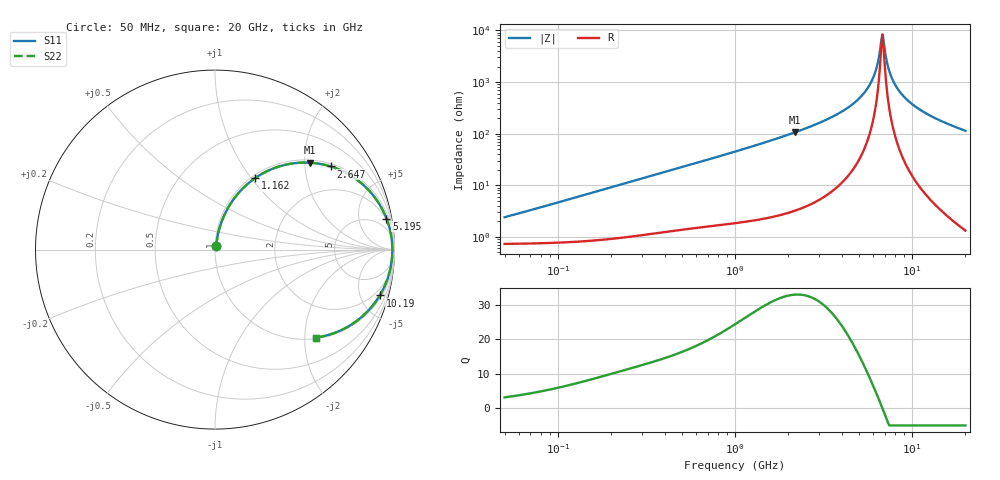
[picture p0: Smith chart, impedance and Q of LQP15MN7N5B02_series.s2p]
!Murata Part Number: LQP15MN7N5B02
!These Parameters are Measured in Series Mode Connection
!  o--[Z]--o
!Port1  Port2
!  o-------o
!Freq. Start=50[MHz] Stop=20[GHz], 401[Steps]
# Hz S RI R 50
!Freq.(Hz) S11(Real) S11(Imag) S21(Real) S21(Imag) S12(Real) S12(Imag) S22(Real) S22(Imag)
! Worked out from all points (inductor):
!   401 points, 50 MHz to 20 GHz, reference 50 ohm
!   read as one part in series: L = 7.31 nH near 51.52 MHz
!   highest Q = 32.9 at 2.179 GHz (marker M1), where L = 7.74 nH
!   self-resonance near 6.701 GHz
!   S11 on the Smith chart (normalised r, x): 50 MHz: 1.01, +0.05; 1.162 GHz: 1.04, +1.05; 2.647 GHz: 1.08, +2.72; 5.195 GHz: 2, +11; 10.19 GHz: 1.28, -7.11; 20 GHz: 1.03, -2.28
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5e7  0.00778 0.0226  0.9922 -0.0226  0.9922 -0.0226  0.00778 0.0226
1.364002e8  0.0119 0.0612  0.9881 -0.0612  0.9881 -0.0612  0.0119 0.0612
3.721004e8  0.0382 0.1593  0.9618 -0.1593  0.9618 -0.1593  0.0382 0.1593
1e9  0.1778 0.3624  0.8222 -0.3624  0.8222 -0.3624  0.1778 0.3624
1.161586e9  0.2245 0.3988  0.7755 -0.3988  0.7755 -0.3988  0.2245 0.3988
2.179053e9  0.5284 0.4842  0.4716 -0.4842  0.4716 -0.4842  0.5284 0.4842
2.647493e9  0.6453 0.4632  0.3547 -0.4632  0.3547 -0.4632  0.6453 0.4632
2.728004e9  0.6632 0.4573  0.3368 -0.4573  0.3368 -0.4573  0.6632 0.4573
3.967106e9  0.863 0.3239  0.137 -0.3239  0.137 -0.3239  0.863 0.3239
5.194772e9  0.9554 0.1733  0.0446 -0.1733  0.0446 -0.1733  0.9554 0.1733
5.683258e9  0.9733 0.1169  0.0267 -0.1169  0.0267 -0.1169  0.9733 0.1169
6.034176e9  0.9814 0.0782  0.0186 -0.0782  0.0186 -0.0782  0.9814 0.0782
6.311513e9  0.9855 0.0489  0.0145 -0.0489  0.0145 -0.0489  0.9855 0.0489
6.701223e9  0.988 0.00954  0.012 -0.00954  0.012 -0.00954  0.988 0.00954
6.802353e9  0.9882 -0.000325  0.0118 0.000325  0.0118 0.000325  0.9882 -0.000325
7.009217e9  0.9879 -0.0201  0.0121 0.0201  0.0121 0.0201  0.9879 -0.0201
7.442007e9  0.9849 -0.0595  0.0151 0.0595  0.0151 0.0595  0.9849 -0.0595
7.784049e9  0.9806 -0.0888  0.0194 0.0888  0.0194 0.0888  0.9806 -0.0888
8.389408e9  0.9695 -0.137  0.0305 0.137  0.0305 0.137  0.9695 -0.137
1.019291e10  0.9184 -0.2551  0.0816 0.2551  0.0816 0.2551  0.9184 -0.2551
1.375312e10  0.7851 -0.4007  0.2149 0.4007  0.2149 0.4007  0.7851 -0.4007
2e10  0.5639 -0.4901  0.4361 0.4901  0.4361 0.4901  0.5639 -0.4901
